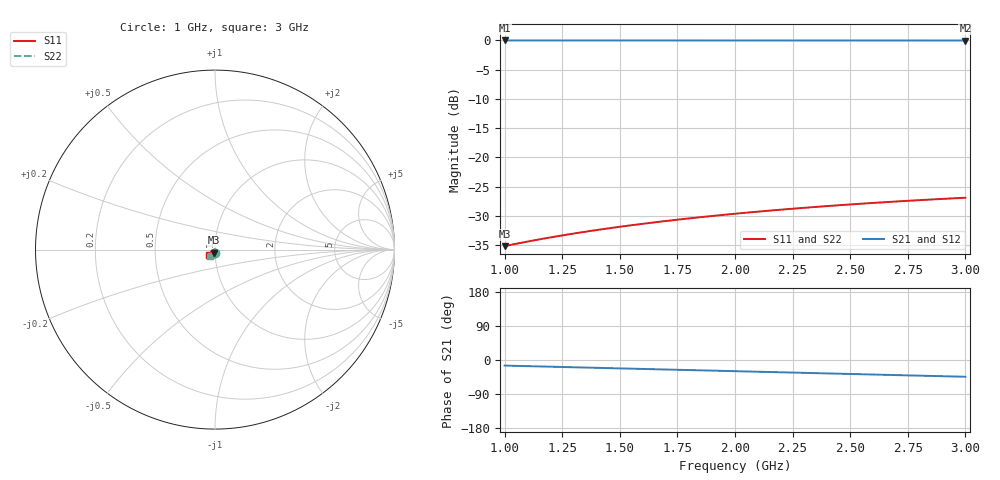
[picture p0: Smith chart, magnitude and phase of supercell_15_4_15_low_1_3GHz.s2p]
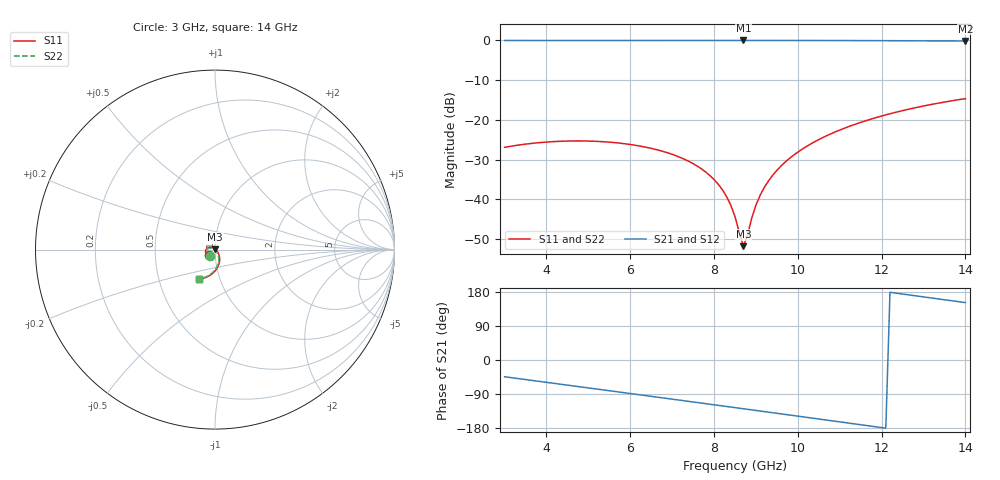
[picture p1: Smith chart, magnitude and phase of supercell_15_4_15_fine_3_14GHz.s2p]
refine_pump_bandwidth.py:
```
#!/usr/bin/env python3
"""Baseline pump-frequency refinement for a target bandwidth of 3.15 GHz."""

from __future__ import annotations

import csv
import json

from _bootstrap import ROOT

import numpy as np
from twpasolver import TWPAnalysis

from device_models import build_twpa_from_hfss
from hfss_bloch import apply_bloch_parameters
from io_utils import read_touchstone, write_csv_rows, write_json
from reproduce_howe_fig3_hfss_bloch import recompute_k_star

INPUTS = ROOT / "hfss_inputs"
OUTPUT = ROOT / "results" / "refined_pump"
TARGET_BW_GHZ = 3.15
PUMPS_GHZ = np.arange(13.80, 13.9201, 0.005)
SIGNALS_GHZ = np.arange(2.50, 11.5001, 0.01)


def load_supercell():
    low_f, low_s = read_touchstone(INPUTS / "supercell_15_4_15_low_1_3GHz.s2p")
    fine_f, fine_s = read_touchstone(INPUTS / "supercell_15_4_15_fine_3_14GHz.s2p")
    aux_f, aux_s = read_touchstone(INPUTS / "supercell_15_4_15_aux_14_27GHz.s2p")
    freqs = np.concatenate((low_f, fine_f[1:], aux_f[1:]))
    sparams = np.concatenate((low_s, fine_s[1:], aux_s[1:]), axis=0)
    return freqs, sparams


def main():
    OUTPUT.mkdir(parents=True, exist_ok=True)
    twpa, provenance = build_twpa_from_hfss(
        INPUTS / "hfss_cell_parameters.csv", INPUTS / "amplifier_config.json"
    )
    config = provenance["amplifier_config"]
    analysis = TWPAnalysis(
        twpa=twpa,
        f_arange=(
            config["base_frequency_start_GHz"],
            config["base_frequency_stop_GHz"],
            config["base_frequency_step_GHz"],
        ),
        unit="GHz",
    )
    analysis.update_base_data()
    measured_f, measured_s = load_supercell()
    bloch = apply_bloch_parameters(analysis.data, measured_f, measured_s, 34)
    analysis.data["k_star"] = recompute_k_star(
        np.asarray(analysis.data["freqs"]),
        np.asarray(analysis.data["k"]),
        (3.0, 8.0),
    )

    rows = []
    for pump in PUMPS_GHZ:
        result = analysis.bandwidth(
            gain_reduction=3.0,
            signal_freqs=SIGNALS_GHZ,
            pump=float(pump),
            Is0=float(config["Is0_A"]),
            model="minimal_3wm",
            thin=400,
        )
        rows.append(
            {
                "pump_GHz": float(pump),
                "mean_B3dB_gain_dB": float(result["mean_gain"]),
                "B3dB_bandwidth_GHz": float(result["total_bw"]),
            }
        )

    best = dict(min(rows, key=lambda row: abs(row["B3dB_bandwidth_GHz"] - TARGET_BW_GHZ)))
    gain = analysis.gain(
        SIGNALS_GHZ,
        pump=best["pump_GHz"],
        Is0=float(config["Is0_A"]),
        model="minimal_3wm",
        thin=400,
    )
    gain_db = np.asarray(gain["gain_db"], dtype=float)
    best["peak_gain_dB"] = float(np.max(gain_db))
    best["target_bandwidth_GHz"] = TARGET_BW_GHZ
    best["absolute_bandwidth_error_GHz"] = abs(best["B3dB_bandwidth_GHz"] - TARGET_BW_GHZ)

    with (OUTPUT / "refined_pump_sweep.csv").open("w", newline="", encoding="utf-8") as handle:
        writer = csv.DictWriter(handle, fieldnames=rows[0].keys())
        writer.writeheader()
        writer.writerows(rows)
    write_csv_rows(
        OUTPUT / "refined_model_gain_profile.csv",
        ["signal_GHz", "gain_dB"],
        [SIGNALS_GHZ, gain_db],
    )
    write_json(OUTPUT / "refined_result.json", {"best": best, "bloch": bloch})
    print(json.dumps(best, indent=2))


if __name__ == "__main__":
    main()
```
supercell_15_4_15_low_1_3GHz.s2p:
! Touchstone file exported from HFSS 2026.1.0
!  Generated:  11:23:11 AM Aug 21, 2026
!  Design:  HFSSDesign_Supercell_15_4_15
!  Project:  15-4-15_super_cell
!  Setup:  Setup1
!  Solution:  Sweep_small_freq
! Variables:
!  stub_length = 12.1um
# GHz S MA R 50.000000
! Terminal data exported
! Port[1] = Port1
! Port[2] = Port2
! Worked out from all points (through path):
!   111 points, 1 GHz to 3 GHz, reference 50 ohm
!   highest |S21| = 0.00 dB at 1 GHz (marker M1); lowest = 0.0 dB at 3 GHz (marker M2)
!   group delay of S21, straight-line fit = 41 ps
!   lowest |S11| = -35.2 dB at 1 GHz (marker M3), VSWR 1.04, Z = 49.4 - j1.61 ohm
!   |S11| at or under -10 dB: start of sweep to end of sweep
!   |S22| runs from -35.2 to -26.9 dB; largest |S21 - S12| = 1.9e-09
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1  0.01747 -110.6  0.9998 -14.8  0.9998 -14.8  0.01747 -98.9
! Gamma 0 862.845280752451 6.5058934368281E-32 867.127841156659
! Port Impedance 50 0 50 0
1.109091  0.01928 -111.7  0.9998 -16.4  0.9998 -16.4  0.01928 -101.1
1.218182  0.02107 -112.8  0.9998 -18.0  0.9998 -18.0  0.02107 -103.1
1.327273  0.02284 -114.1  0.9997 -19.6  0.9997 -19.6  0.02284 -105.1
1.454545  0.02486 -115.6  0.9997 -21.5  0.9997 -21.5  0.02486 -107.3
1.709091  0.02879 -118.8  0.9996 -25.2  0.9996 -25.2  0.02879 -111.6
2  0.03306 -122.7  0.9995 -29.5  0.9995 -29.5  0.03306 -116.3
2.236364  0.03631 -125.9  0.9993 -33.0  0.9993 -33.0  0.03631 -120.1
2.472727  0.03935 -129.2  0.9992 -36.5  0.9992 -36.5  0.03935 -123.7
2.727273  0.04238 -132.8  0.9991 -40.2  0.9991 -40.2  0.04238 -127.7
3  0.04529 -136.7  0.999 -44.2  0.999 -44.2  0.04529 -131.8
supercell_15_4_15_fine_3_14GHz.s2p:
! Touchstone file exported from HFSS 2026.1.0
!  Generated:  01:10:25 PM Aug 20, 2026
!  Design:  HFSSDesign_Supercell_15_4_15
!  Project:  15-4-15_super_cell
!  Setup:  Setup1
!  Solution:  Sweep_16_2_16_fine
! Variables:
!  stub_length = 12.1um
# GHz S MA R 50.000000
! Terminal data exported
! Port[1] = Port1
! Port[2] = Port2
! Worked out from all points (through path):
!   111 points, 3 GHz to 14 GHz, reference 50 ohm
!   highest |S21| = 0.00 dB at 8.7 GHz (marker M1); lowest = -0.2 dB at 14 GHz (marker M2)
!   group delay of S21, straight-line fit = 41.5 ps
!   lowest |S11| = -51.7 dB at 8.7 GHz (marker M3), VSWR 1.01, Z = 50.1 + j0.218 ohm
!   |S11| at or under -10 dB: start of sweep to end of sweep
!   |S22| runs from -51.7 to -14.6 dB; largest |S21 - S12| = 0.00023
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3  0.04529 -136.7  0.999 -44.2  0.999 -44.2  0.04529 -131.8
! Gamma 0 2588.53611777122 9.04066273999306E-32 2601.38380860688
! Port Impedance 50 0 50 0
5  0.0543 -166.0  0.9985 -73.7  0.9985 -73.7  0.0543 -161.4
6.8  0.03997 166.2  0.9992 -100.4  0.9992 -100.4  0.03997 173.1
7.9  0.02003 146.1  0.9998 -116.7  0.9998 -116.7  0.02003 160.5
8.3  0.01087 133.7  0.9999 -122.7  0.9999 -122.7  0.01087 160.9
8.5  0.006097 119.5  1 -125.7  1 -125.7  0.006097 169.2
8.7  0.002588 57.0  1 -128.7  1 -128.7  0.002588 -134.3
9.2  0.01419 -35.6  0.9999 -136.2  0.9999 -136.2  0.01419 -56.7
10.1  0.0428 -56.2  0.9991 -149.7  0.9991 -149.7  0.0428 -63.2
12  0.1121 -87.1  0.9937 -178.4  0.9937 -178.4  0.1121 -89.6
14  0.1854 -117.9  0.9827 151.5  0.9827 151.5  0.1854 -119.1
